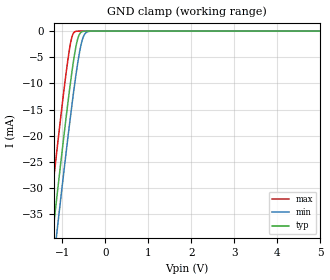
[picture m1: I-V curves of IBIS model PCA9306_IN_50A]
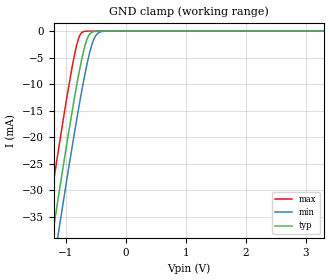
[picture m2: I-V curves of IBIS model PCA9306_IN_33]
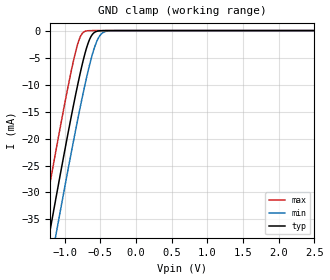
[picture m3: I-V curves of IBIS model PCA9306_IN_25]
| TEXAS INSTRUMENTS INCORPORATED
| Standard Linear and Logic Group
| IBIS Model of PCA9306
| DUAL BIDIRECTIONAL I2C BUS AND SMBUS VOLTAGE-LEVEL TRANSLATOR
| This file contains package information for the following:
|  TSSOP 8-pin (DCT) package as [Component] PCA9306_DCT
|  TSSOP 8-pin (DCU) package as [Component] PCA9306_DCU
| This device can be powered at the following Vccs:
|  5 volt Vcc
|  3.3 volt Vcc
|  2.5 volt Vcc
|  1.8 volt Vcc
|  1.2 volt Vcc
| This file provides unique models under the [Model Selector] for each Vcc.
| For operation at a specific Vcc, select the appropriate model after each
| [Model Selector] keyword.
[IBIS Ver]   3.2
[Comment char]  |_char
[File Name]   pca9306.ibs
[File Rev]   1.2 | x_die
[Date]   April 29, 2009
[Source]   Data created from TI-SPICE simulations at TI-SLL.
[Notes]   The following is an IBIS list for the PCA9306.
   Please contact sllibis@ti.com with questions and
   comments concerning SLL IBIS models.
   - FILE REV HISTORY
   - 1.1 Release IBIS file on 04/19/05
   - Non-monotonic data due to FET characteristics.
   - POWER clamp data deleted as there is no power-clmp diode.
   - 1.2 Release IBIS file on 04/29/09
   - added 2.5V and 1.8V data ranges
[Disclaimer] Property of Texas Instruments Incorporated.  Unauthorized
                reproduction and/or distribution is strictly prohibited.
                This product is protected under copyright law.
                Created  2009, (C) Copyright  2009, Texas Instruments
                Incorporated, All Rights Reserved
                UNLESS THERE IS A SIGNED, WRITTEN AGREEMENT TO THE
                CONTRARY, TEXAS INSTRUMENTS (TI) IS PROVIDING THE IBIS
                MODELS  AND WITHOUT ANY WARRANTY, EXPRESSED OR
                IMPLIED.  TI assumes no liability for:
                 1) the accuracy of the IBIS models provided to your
                    company;
                 2) the proper functioning of these IBIS Models in your
                    design or for any resulting applications; or
                 3) infringement of patents, copyrights or intellectual
                    property rights resulting from your use of these IBIS
                    models.
                TI provides IBIS Models as a service to our customers.
                You and your company shall not distribute, sell or give
                these models to anyone else without prior written
                permission from TI.
                TI reserves the right to make changes to our products or
                to discontinue any semiconductor product or service
                without notice, and advises our customers to obtain the
                latest version of relevant information to verify, before
                placing orders, that the information being relied on is
                current.
                Please be aware that your receipt and use of the IBIS
                information provided shall serve as acceptance of these
                terms and conditions.  If you do not accept these terms,
                you should return or destroy the IBIS models and any
                other accompanying information immediately.
| Component PCA9306_DCT 8-PIN TSSOP
[Component]   PCA9306_DCT
[Manufacturer]   Texas Instruments, Inc.
[Package]
|   typ   min   max
R_pkg   2.900e-02   2.800e-02   3.100e-02
L_pkg   1.796e-09   1.666e-09   1.924e-09
C_pkg   1.090e-13   8.300e-14   1.360e-13
[Pin]   signal_name   model_name   R_pin   L_pin   C_pin
1   GND   GND   3.100e-02   1.894e-09   1.340e-13
2   VREF1   PCA9306_IO   2.800e-02   1.697e-09   8.600e-14
3   SCL1   PCA9306_IO   3.000e-02   1.722e-09   8.600e-14
4   SDA1   PCA9306_IO   3.000e-02   1.861e-09   1.300e-13
5   SDA2   PCA9306_IO   2.800e-02   1.924e-09   1.360e-13
6   SCL2   PCA9306_IO   2.900e-02   1.736e-09   8.600e-14
7   VREF2   PCA9306_IO   2.800e-02   1.666e-09   8.300e-14
8   EN   PCA9306_IN   3.000e-02   1.871e-09   1.320e-13
| Component PCA9306_DCU 8-PIN TSSOP
[Component]   PCA9306_DCU
[Manufacturer]   Texas Instruments, Inc.
[Package]
|   typ   min   max
R_pkg   1.400e-02   1.300e-02   1.500e-02
L_pkg   1.289e-09   1.025e-09   2.014e-09
C_pkg   1.360e-13   6.600e-14   2.940e-13
[Pin]   signal_name   model_name   R_pin   L_pin   C_pin
1   GND   GND   1.400e-02   1.387e-09   1.760e-13
2   VREF1   PCA9306_IO   1.300e-02   1.026e-09   6.600e-14
3   SCL1   PCA9306_IO   1.300e-02   1.032e-09   6.700e-14
4   SDA1   PCA9306_IO   1.500e-02   2.014e-09   2.940e-13
5   SDA2   PCA9306_IO   1.400e-02   1.412e-09   1.780e-13
6   SCL2   PCA9306_IO   1.300e-02   1.030e-09   6.600e-14
7   VREF2   PCA9306_IO   1.300e-02   1.025e-09   6.600e-14
8   EN   PCA9306_IN   1.400e-02   1.386e-09   1.760e-13
[Series Switch Groups]
| Function Group States
On  1 /   | VREF1->VREF2 EN HIGH
   | SCL1->SCL2 EN HIGH
   | SDA1->SDA2 EN HIGH
Off 1 /   | EN LOW
[Series Pin Mapping]   pin_2   model_name   function_table_group
2   7   PCA9306_IO_S   1
3   6   PCA9306_IO_S   1
4   5   PCA9306_IO_S   1
| Model PCA9306_IN
[Model Selector]   PCA9306_IN
PCA9306_IN_50A   5 volt Vcc
PCA9306_IN_33   3.3 volt Vcc
PCA9306_IN_25   2.5 volt Vcc
PCA9306_IN_18   1.8 volt Vcc
PCA9306_IN_12A   1.2 volt Vcc
| Model PCA9306_IO
[Model Selector]   PCA9306_IO
PCA9306_IO_50A   5 volt Vcc
PCA9306_IO_33   3.3 volt Vcc
PCA9306_IO_25   2.5 volt Vcc
PCA9306_IO_18   1.8 volt Vcc
PCA9306_IO_12A   1.2 volt Vcc
| Model PCA9306_IO_S
[Model Selector]   PCA9306_IO_S
PCA9306_IO_50A_S   5 volt Vcc
PCA9306_IO_33_S   3.3 volt Vcc
PCA9306_IO_25_S   2.5 volt Vcc
PCA9306_IO_18_S   1.8 volt Vcc
PCA9306_IO_12A_S   1.2 volt Vcc
[Model]   PCA9306_IO_50A_S
Model_type  Series_switch
| variable   typ   min   max
C_comp   0   0   0
[Temperature Range]   40   100   -40
| Ambient temperature   25   85   -40
[Voltage range]   5   5   5
[On]
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[Off]
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[Model]   PCA9306_IO_33_S
Model_type  Series_switch
| variable   typ   min   max
C_comp   0   0   0
[Temperature Range]   40   100   -40
| Ambient temperature   25   85   -40
[Voltage range]   3.3   3   3.6
[On]
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[Off]
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[Model]   PCA9306_IO_25_S
Model_type  Series_switch
| variable   typ   min   max
C_comp   0   0   0
[Temperature Range]   40   100   -40
| Ambient temperature   25   85   -40
[Voltage range]   2.5   2.3   2.7
[On]
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[Off]
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[Model]   PCA9306_IO_18_S
Model_type  Series_switch
| variable   typ   min   max
C_comp   0   0   0
[Temperature Range]   40   100   -40
| Ambient temperature   25   85   -40
[Voltage range]   1.8   1.65   1.95
[On]
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[Off]
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[Model]   PCA9306_IO_12A_S
Model_type  Series_switch
| variable   typ   min   max
C_comp   0   0   0
[Temperature Range]   40   100   -40
| Ambient temperature   25   85   -40
[Voltage range]   1.2   1.2   1.2
[On]
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[Off]
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| Models and submodels in the file (15): PCA9306_IN_50A (Input), PCA9306_IN_33 (Input), PCA9306_IN_25 (Input), PCA9306_IN_18 (Input), PCA9306_IN_12A (Input), PCA9306_IO_50A_S (Series_switch), PCA9306_IO_50A (Terminator), PCA9306_IO_33_S (Series_switch), PCA9306_IO_33 (Terminator), PCA9306_IO_25_S (Series_switch), PCA9306_IO_25 (Terminator), PCA9306_IO_18_S (Series_switch), PCA9306_IO_18 (Terminator), PCA9306_IO_12A_S (Series_switch), PCA9306_IO_12A (Terminator)
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[Model]   PCA9306_IN_50A
Model_type  Input
Vinl=0.6
Vinh=5
| variable   typ   min   max
C_comp   6.26pF   4.66pF   9.23pF
[Temperature Range]   40   100   -40
| Ambient temperature   25   85   -40
[Voltage range]   5   5   5
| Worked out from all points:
|   GND clamp passes 1 mA (typ) near -0.62 V on its own axis
[GND Clamp]
| PCA9306_IN_50A
|   Voltage   I(typ)   I(min)   I(max)
-5V       -328.9mA   -335.1mA   -321mA
-1.365V   -49.02mA   -55.82mA   -40.25mA
-1.325V   -46.04mA   -52.85mA   -37.26mA
-1.215V   -37.92mA   -44.74mA   -29.12mA
-1.12V    -30.99mA   -37.81mA   -22.19mA
-850mV    -12.22mA   -18.79mA   -4.2mA
-780mV    -7.858mA   -14.16mA   -1.166mA
-710mV    -4.062mA   -9.799mA   -118uA
-635mV    -1.238mA   -5.618mA   -5.709uA
-555mV    -167.5uA   -2.206mA   -200.7nA
-405mV    -1.746uA   -97.01uA   -397.3pA
5V        97.63pA    2.873nA    90.01pA
[Model]   PCA9306_IN_33
Model_type  Input
Vinl=0.6
Vinh=3.6
| variable   typ   min   max
C_comp   6.06pF   4.74pF   7.90pF
[Temperature Range]   40   100   -40
| Ambient temperature   25   85   -40
[Voltage range]   3.3   3   3.6
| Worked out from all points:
|   GND clamp passes 1 mA (typ) near -0.62 V on its own axis
[GND Clamp]
| PCA9306_IN_33
|   Voltage   I(typ)   I(min)   I(max)
-3.3V     -197mA     -203.5mA   -188.9mA
-1.36V    -48.65mA   -55.45mA   -39.88mA
-1.315V   -45.3mA    -52.12mA   -36.52mA
-1.23V    -39.02mA   -45.85mA   -30.22mA
-1.19V    -36.09mA   -42.91mA   -27.28mA
-1.115V   -30.63mA   -37.45mA   -21.83mA
-850mV    -12.22mA   -18.79mA   -4.2mA
-715mV    -4.305mA   -10.1mA    -142.6uA
-635mV    -1.238mA   -5.618mA   -5.709uA
-555mV    -167.5uA   -2.206mA   -200.7nA
-405mV    -1.746uA   -97.01uA   -397.3pA
3.3V      64.05pA    2.84nA     56.56pA
[Model]   PCA9306_IN_25
Model_type  Input
Vinl=0.6
Vinh=2.7
| variable   typ   min   max
C_comp   5.97pF   4.76pF   7.97pF
[Temperature Range]   40   100   -40
| Ambient temperature   25   85   -40
[Voltage range]   2.5   2.3   2.7
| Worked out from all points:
|   GND clamp passes 1 mA (typ) near -0.62 V on its own axis
[GND Clamp]
| PCA9306_IN_25
|   Voltage   I(typ)   I(min)   I(max)
-2.5V     -135.3mA   -141.9mA   -127mA
-1.335V   -46.79mA   -53.6mA    -38.01mA
-1.22V    -38.29mA   -45.11mA   -29.48mA
-1.185V   -35.72mA   -42.55mA   -26.92mA
-1.12V    -30.99mA   -37.81mA   -22.19mA
-855mV    -12.54mA   -19.12mA   -4.472mA
-785mV    -8.155mA   -14.49mA   -1.319mA
-720mV    -4.553mA   -10.4mA    -171.8uA
-640mV    -1.37mA    -5.873mA   -7.034uA
-560mV    -192.8uA   -2.373mA   -247.3nA
-415mV    -2.384uA   -124.1uA   -599.6pA
2.5V      48.96pA    2.825nA    41.29pA
